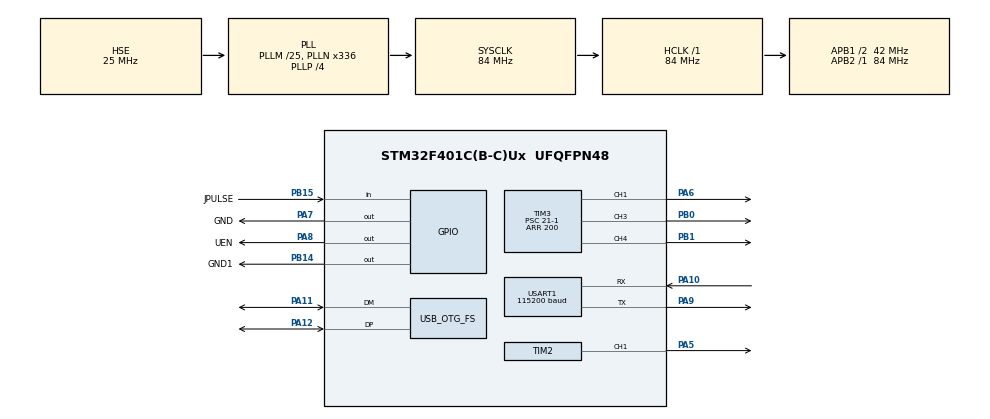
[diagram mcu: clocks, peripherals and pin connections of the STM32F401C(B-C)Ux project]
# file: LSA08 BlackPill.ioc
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Mcu.Family=STM32F4
Mcu.Name=STM32F401C(B-C)Ux
Mcu.Package=UFQFPN48
NVIC.OTG_FS_IRQn=true\:0\:0\:false\:false\:true\:false\:true\:true
NVIC.PriorityGroup=NVIC_PRIORITYGROUP_4
NVIC.USART1_IRQn=true\:0\:0\:false\:false\:true\:true\:true\:true
PA10.Mode=Asynchronous
PA10.Signal=USART1_RX
PA11.Mode=Device_Only
PA11.Signal=USB_OTG_FS_DM
PA12.Mode=Device_Only
PA12.Signal=USB_OTG_FS_DP
PA13.Mode=Trace_Asynchronous_SW
PA13.Signal=SYS_JTMS-SWDIO
PA14.Mode=Trace_Asynchronous_SW
PA14.Signal=SYS_JTCK-SWCLK
PA5.Signal=S_TIM2_CH1_ETR
PA6.Signal=S_TIM3_CH1
PA7.GPIO_Label=GND
PA7.GPIO_PuPd=GPIO_PULLDOWN
PA7.Signal=GPIO_Output
PA8.GPIO_Label=UEN
PA8.GPIO_PuPd=GPIO_PULLDOWN
PA8.Signal=GPIO_Output
PA9.Mode=Asynchronous
PA9.Signal=USART1_TX
PB0.Signal=S_TIM3_CH3
PB1.Signal=S_TIM3_CH4
PB14.GPIO_Label=GND1
PB14.GPIO_PuPd=GPIO_PULLDOWN
PB14.Signal=GPIO_Output
PB15.GPIO_Label=JPULSE
PB15.Signal=GPIO_Input
PB3.Mode=Trace_Asynchronous_SW
PB3.Signal=SYS_JTDO-SWO
PH0\ -\ OSC_IN.Mode=HSE-External-Oscillator
PH0\ -\ OSC_IN.Signal=RCC_OSC_IN
PH1\ -\ OSC_OUT.Mode=HSE-External-Oscillator
PH1\ -\ OSC_OUT.Signal=RCC_OSC_OUT
ProjectManager.HeapSize=0x200
ProjectManager.StackSize=0x400
ProjectManager.TargetToolchain=STM32CubeIDE
RCC.48MHZClocksFreq_Value=48000000
RCC.AHBFreq_Value=84000000
RCC.APB1CLKDivider=RCC_HCLK_DIV2
RCC.APB1Freq_Value=42000000
RCC.APB1TimFreq_Value=84000000
RCC.APB2Freq_Value=84000000
RCC.APB2TimFreq_Value=84000000
RCC.CortexFreq_Value=84000000
RCC.HCLKFreq_Value=84000000
RCC.HSE_VALUE=25000000
RCC.HSI_VALUE=16000000
RCC.LSE_VALUE=32768
RCC.PLLM=25
RCC.PLLN=336
RCC.PLLP=RCC_PLLP_DIV4
RCC.PLLQ=7
RCC.SYSCLKFreq_VALUE=84000000
RCC.SYSCLKSource=RCC_SYSCLKSOURCE_PLLCLK
RCC.VCOOutputFreq_Value=336000000
SH.S_TIM2_CH1_ETR.0=TIM2_CH1,PWM Generation1 CH1
SH.S_TIM3_CH1.0=TIM3_CH1,PWM Generation1 CH1
SH.S_TIM3_CH3.0=TIM3_CH3,PWM Generation3 CH3
SH.S_TIM3_CH4.0=TIM3_CH4,PWM Generation4 CH4
TIM2.AutoReloadPreload=TIM_AUTORELOAD_PRELOAD_ENABLE
TIM2.Channel-PWM\ Generation1\ CH1=TIM_CHANNEL_1
TIM2.Period=200
TIM2.Prescaler=21-1
TIM3.AutoReloadPreload=TIM_AUTORELOAD_PRELOAD_ENABLE
TIM3.Channel-PWM\ Generation1\ CH1=TIM_CHANNEL_1
TIM3.Channel-PWM\ Generation3\ CH3=TIM_CHANNEL_3
TIM3.Channel-PWM\ Generation4\ CH4=TIM_CHANNEL_4
TIM3.Period=200
TIM3.Prescaler=21-1
USART1.BaudRate=115200
USART1.VirtualMode=VM_ASYNC
USB_DEVICE.CLASS_NAME_FS=CDC
USB_DEVICE.VirtualMode=Cdc
USB_DEVICE.VirtualModeFS=Cdc_FS
USB_OTG_FS.VirtualMode=Device_Only
VP_TIM2_VS_ClockSourceINT.Mode=Internal
VP_TIM3_VS_ClockSourceINT.Mode=Internal
VP_USB_DEVICE_VS_USB_DEVICE_CDC_FS.Mode=CDC_FS
board=custom

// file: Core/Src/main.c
/* USER CODE BEGIN Header */
/**
 ******************************************************************************
 * @file           : main.c
 * @brief          : Main program body
 ******************************************************************************
 * @attention
 *
 * Copyright (c) 2024 STMicroelectronics.
 * All rights reserved.
 *
 * This software is licensed under terms that can be found in the LICENSE file
 * in the root directory of this software component.
 * If no LICENSE file comes with this software, it is provided AS-IS.
 *
 ******************************************************************************
								UART MODE 2
 */

/* USER CODE END Header */
#include "main.h"
#include "usb_device.h"

/* USER CODE BEGIN Includes */
#include "usbd_cdc_if.h"
#include "stdio.h"
#include "math.h"
#include "string.h"

#define address 1
#define kp 7.8
#define kd 0.5
#define ki 0.000004
#define MAX_LOOP_COUNT 4

double error, P, I, D;
int setpoint = 35;
double correction = 0, lastInput = 0;
uint32_t lastTime = 0;
double integralMin = -25.0, integralMax = 25.0;
//double base_speed_right = 150;
//double base_speed_left = 150;
double base_speed = 200;
int turn;
int junction;
int junction_flag = 0;
int loop_counter = 0;
int last_turn = 0;
/* USER CODE END Includes */

TIM_HandleTypeDef htim2;
TIM_HandleTypeDef htim3;

UART_HandleTypeDef huart1;

/* USER CODE BEGIN PV */
uint8_t rxBuffer[1];
char rxdata[20];
int flag = 0;

/* USER CODE END PV */

void SystemClock_Config(void);
static void MX_GPIO_Init(void);
static void MX_TIM2_Init(void);
static void MX_TIM3_Init(void);
static void MX_USART1_UART_Init(void);

/* USER CODE BEGIN 0 */

void send_to_lsa(uint8_t command, uint8_t data) {
	uint8_t packet[4];
	packet[0] = address;
	packet[1] = command;
	packet[2] = data;
	packet[3] = address + command + data;
	HAL_UART_Transmit(&huart1, packet, 4, 10);
	HAL_Delay(10);

}

int _write(int file, char *ptr, int len) {
	int DataIdx;
	for (DataIdx = 0; DataIdx < len; DataIdx++) {
		ITM_SendChar(*ptr++);
	}
	return len;
}
uint8_t line_data() {
	HAL_GPIO_WritePin(GPIOB, GPIO_PIN_0, 0);
	HAL_Delay(1);
	HAL_UART_Receive(&huart1, (uint8_t*) rxBuffer, sizeof(rxBuffer), 10);
	HAL_Delay(1);
	HAL_GPIO_WritePin(GPIOB, GPIO_PIN_0, 1);

	return rxBuffer[0];
}

int junction_data() {
	int j_data = HAL_GPIO_ReadPin(JPULSE_GPIO_Port, JPULSE_Pin);
	return j_data;
}

void setMotorSpeed(uint8_t motor, int32_t speed) {
	uint16_t pwm = abs(speed);
	if (pwm > 200)
		pwm = 200;

	if (motor == 0) { // Motor 1
		if (speed > 0) {
			TIM2->CCR1 = pwm;  // Set PWM duty cycle for channel 1
			TIM3->CCR1 = 0;          // Set PWM duty cycle for channel 2
		} else {
			TIM2->CCR1 = 0;          // Set PWM duty cycle for channel 1

			TIM3->CCR1 = pwm;  // Set PWM duty cycle for channel 2
		}
	} else if (motor == 1) { // Motor 2
		if (speed > 0) {
			TIM3->CCR3 = pwm;  // Set PWM duty cycle for channel 3
			TIM3->CCR4 = 0;          // Set PWM duty cycle for channel 4
		} else {
			TIM3->CCR3 = 0;          // Set PWM duty cycle for channel 3
			TIM3->CCR4 = pwm;  // Set PWM duty cycle for channel 4
		}
	}

}

void computePID(double error, int32_t input) {

	double timeChange = (double) (HAL_GetTick() - lastTime);

	P = kp * error;
	I += ki * error * timeChange;
	if (I > integralMax) I = integralMax;
	if (I < integralMin) I = integralMin;
	D = kd * (input - lastInput) / timeChange;

	correction = P + I + D;
	lastInput = input;
	lastTime = HAL_GetTick();
	correction = floor(correction);
//	base_speed_right = floor(base_speed_right);
//	base_speed_left = floor(base_speed_left);

	printf("input = %ld\n", input);
	printf("lastinput = %lf\n", lastInput);
	printf("error = %f\n", error);
	printf("P = %f\n", P);
	printf("I = %f\n", I);
	printf("D = %f\n", D);
//	base_speed_right -= correction;
//	base_speed_left += correction;
	printf("correction = %f\n", correction);
//	printf("motor0: %f, motor1:%f\n" ,base_speed_left,base_speed_right);
//	setMotorSpeed(0, base_speed_left);
//	setMotorSpeed(1, base_speed_right);
	printf("motor0: %f, motor1:%f\n", base_speed + correction,
			base_speed - correction);
	setMotorSpeed(0, base_speed + correction);
	setMotorSpeed(1, base_speed - correction);

}
uint8_t rxData;

//int isInLoop(int current_turn) {
//    if (current_turn == last_turn) {
//        loop_counter++;
//        if (loop_counter >= MAX_LOOP_COUNT) {
//            return 1;
//        }
//    } else {
//        loop_counter = 0;
//    }
//    last_turn = current_turn;
//    return 0;
//}

/* USER CODE END 0 */

int main(void) {

	/* MCU Configuration--------------------------------------------------------*/

	/* Reset of all peripherals, Initializes the Flash interface and the Systick. */
	HAL_Init();

	/* Configure the system clock */
	SystemClock_Config();

	/* Initialize all configured peripherals */
	MX_GPIO_Init();
	MX_TIM2_Init();
	MX_TIM3_Init();
	MX_USART1_UART_Init();
	MX_USB_DEVICE_Init();
	/* USER CODE BEGIN 2 */
//    send_to_lsa('C', 0);
	HAL_TIM_PWM_Start(&htim3, TIM_CHANNEL_1);
	HAL_TIM_PWM_Start(&htim3, TIM_CHANNEL_4);
	HAL_TIM_PWM_Start(&htim3, TIM_CHANNEL_3);
	HAL_TIM_PWM_Start(&htim2, TIM_CHANNEL_1);
//  HAL_Delay(6000);
	HAL_Delay(2000);
//  setMotorSpeed(0, base_speed);
//  setMotorSpeed(1, base_speed);

	/* USER CODE END 2 */

	/* Infinite loop */
	/* USER CODE BEGIN WHILE */
	while (1) {
		int input = line_data();
//		printf("Input: %d\n", input);
//		printf("Turn: %d\n", turn);
//		printf("junction: %d\n", junction);
		turn = input > 50 && input <= 70 ? 1 : input < 20 ? -1 : turn;
//		if (input > 52 && input <= 70) {
//		        turn = 1;
//		} else if (input < 20) {
//		        turn = -1;
//		}
//		if (isInLoop(turn)) {
//		    if (turn == 1) {
//		        turn = -1;
//		    } else if (turn == -1) {
//		        turn = 1;
//		    }
//		}

		if (turn) {
			while (input == 255) {
				if (turn == 1) {
					setMotorSpeed(0, 150);
					setMotorSpeed(1, -150);
				} else if(turn == -1) {
					setMotorSpeed(0, -150);
					setMotorSpeed(1, 150);
				}
				input = line_data();
			}
//			turn = 0;
//			continue;
			input = line_data();
		}
//		turn = 0;
		turn = input > 52 && input <= 70 ? 1 : input < 20 ? -1 : turn;
		if (input == 255) {
//			setMotorSpeed(0, 0);
//			setMotorSpeed(1, 0);
			continue;
		}
//		junction = junction_data();
//		if (junction == 1) {
//			turn = input > 45 ? 1 : input < 25 ? -1 : 0;
//			continue;
//		}`

//
//		if (junction) {
//			if (junction_flag == 0) {
//				if (input > 45) {
//					turn = 1;
//				} else if (input < 25) {
//					turn = -1;
//				} else {
//					turn = 0;
//				}
//
//				junction_flag = 1;
//			} else {
//				turn = 0;
//			}
//		} else {
//			junction_flag = 0;
//		}
//		if (input == 255) {
//			HAL_Delay(25);
//			setMotorSpeed(0, 0);
//			setMotorSpeed(1, 0);
//			while (line_data() == 255) {
//				if (turn == 1) {
//					setMotorSpeed(0, 50);
//					setMotorSpeed(1, -50);
//					printf("turn=1");
//				} else if (turn == -1) {
//					setMotorSpeed(0, -50);
//					setMotorSpeed(1, 50);
//					printf("turn=-1");
//				} else if (!turn) {
//					setMotorSpeed(0, 50);
//					setMotorSpeed(1, 50);
//					printf("turn=0");
//				}
//				HAL_Delay(200);
//			}
//			input = line_data();
//		}
//	else{
		double error = input - setpoint;
//		if(turn){
//			error = error * 1.25;
//		}
		computePID(error, input);
//		}
//	}

		/* USER CODE END WHILE */

		/* USER CODE BEGIN 3 */
//	if(flag == 1){
//
//		HAL_UART_Receive(&huart2, (uint8_t *)rxdata, sizeof(rxdata), 1);
//		for (int i = 0; i < strlen(rxdata); i++) {
//			printf("%c,", rxdata[i]); //	function to convert string to float to be called here
//		}
//		printf("\n");
//		flag = 0;
//		__HAL_UART_ENABLE_IT(&huart2 , UART_IT_RXNE);
//
//	}
		printf("line: %d\n", line_data());

	}
	/* USER CODE END 3 */
}

void SystemClock_Config(void) {
	RCC_OscInitTypeDef RCC_OscInitStruct = { 0 };
	RCC_ClkInitTypeDef RCC_ClkInitStruct = { 0 };

	/** Configure the main internal regulator output voltage
	 */
	__HAL_RCC_PWR_CLK_ENABLE();
	__HAL_PWR_VOLTAGESCALING_CONFIG(PWR_REGULATOR_VOLTAGE_SCALE2);

	/** Initializes the RCC Oscillators according to the specified parameters
	 * in the RCC_OscInitTypeDef structure.
	 */
	RCC_OscInitStruct.OscillatorType = RCC_OSCILLATORTYPE_HSE;
	RCC_OscInitStruct.HSEState = RCC_HSE_ON;
	RCC_OscInitStruct.PLL.PLLState = RCC_PLL_ON;
	RCC_OscInitStruct.PLL.PLLSource = RCC_PLLSOURCE_HSE;
	RCC_OscInitStruct.PLL.PLLM = 25;
	RCC_OscInitStruct.PLL.PLLN = 336;
	RCC_OscInitStruct.PLL.PLLP = RCC_PLLP_DIV4;
	RCC_OscInitStruct.PLL.PLLQ = 7;
	if (HAL_RCC_OscConfig(&RCC_OscInitStruct) != HAL_OK) {
		Error_Handler();
	}

	/** Initializes the CPU, AHB and APB buses clocks
	 */
	RCC_ClkInitStruct.ClockType = RCC_CLOCKTYPE_HCLK | RCC_CLOCKTYPE_SYSCLK
			| RCC_CLOCKTYPE_PCLK1 | RCC_CLOCKTYPE_PCLK2;
	RCC_ClkInitStruct.SYSCLKSource = RCC_SYSCLKSOURCE_PLLCLK;
	RCC_ClkInitStruct.AHBCLKDivider = RCC_SYSCLK_DIV1;
	RCC_ClkInitStruct.APB1CLKDivider = RCC_HCLK_DIV2;
	RCC_ClkInitStruct.APB2CLKDivider = RCC_HCLK_DIV1;

	if (HAL_RCC_ClockConfig(&RCC_ClkInitStruct, FLASH_LATENCY_2) != HAL_OK) {
		Error_Handler();
	}
}

static void MX_TIM2_Init(void) {

	TIM_ClockConfigTypeDef sClockSourceConfig = { 0 };
	TIM_MasterConfigTypeDef sMasterConfig = { 0 };
	TIM_OC_InitTypeDef sConfigOC = { 0 };

	htim2.Instance = TIM2;
	htim2.Init.Prescaler = 21 - 1;
	htim2.Init.CounterMode = TIM_COUNTERMODE_UP;
	htim2.Init.Period = 200;
	htim2.Init.ClockDivision = TIM_CLOCKDIVISION_DIV1;
	htim2.Init.AutoReloadPreload = TIM_AUTORELOAD_PRELOAD_ENABLE;
	if (HAL_TIM_Base_Init(&htim2) != HAL_OK) {
		Error_Handler();
	}
	sClockSourceConfig.ClockSource = TIM_CLOCKSOURCE_INTERNAL;
	if (HAL_TIM_ConfigClockSource(&htim2, &sClockSourceConfig) != HAL_OK) {
		Error_Handler();
	}
	if (HAL_TIM_PWM_Init(&htim2) != HAL_OK) {
		Error_Handler();
	}
	sMasterConfig.MasterOutputTrigger = TIM_TRGO_RESET;
	sMasterConfig.MasterSlaveMode = TIM_MASTERSLAVEMODE_DISABLE;
	if (HAL_TIMEx_MasterConfigSynchronization(&htim2, &sMasterConfig)
			!= HAL_OK) {
		Error_Handler();
	}
	sConfigOC.OCMode = TIM_OCMODE_PWM1;
	sConfigOC.Pulse = 0;
	sConfigOC.OCPolarity = TIM_OCPOLARITY_HIGH;
	sConfigOC.OCFastMode = TIM_OCFAST_DISABLE;
	if (HAL_TIM_PWM_ConfigChannel(&htim2, &sConfigOC, TIM_CHANNEL_1)
			!= HAL_OK) {
		Error_Handler();
	}
	HAL_TIM_MspPostInit(&htim2);

}

static void MX_TIM3_Init(void) {

	TIM_ClockConfigTypeDef sClockSourceConfig = { 0 };
	TIM_MasterConfigTypeDef sMasterConfig = { 0 };
	TIM_OC_InitTypeDef sConfigOC = { 0 };

	htim3.Instance = TIM3;
	htim3.Init.Prescaler = 21 - 1;
	htim3.Init.CounterMode = TIM_COUNTERMODE_UP;
	htim3.Init.Period = 200;
	htim3.Init.ClockDivision = TIM_CLOCKDIVISION_DIV1;
	htim3.Init.AutoReloadPreload = TIM_AUTORELOAD_PRELOAD_ENABLE;
	if (HAL_TIM_Base_Init(&htim3) != HAL_OK) {
		Error_Handler();
	}
	sClockSourceConfig.ClockSource = TIM_CLOCKSOURCE_INTERNAL;
	if (HAL_TIM_ConfigClockSource(&htim3, &sClockSourceConfig) != HAL_OK) {
		Error_Handler();
	}
	if (HAL_TIM_PWM_Init(&htim3) != HAL_OK) {
		Error_Handler();
	}
	sMasterConfig.MasterOutputTrigger = TIM_TRGO_RESET;
	sMasterConfig.MasterSlaveMode = TIM_MASTERSLAVEMODE_DISABLE;
	if (HAL_TIMEx_MasterConfigSynchronization(&htim3, &sMasterConfig)
			!= HAL_OK) {
		Error_Handler();
	}
	sConfigOC.OCMode = TIM_OCMODE_PWM1;
	sConfigOC.Pulse = 0;
	sConfigOC.OCPolarity = TIM_OCPOLARITY_HIGH;
	sConfigOC.OCFastMode = TIM_OCFAST_DISABLE;
	if (HAL_TIM_PWM_ConfigChannel(&htim3, &sConfigOC, TIM_CHANNEL_1)
			!= HAL_OK) {
		Error_Handler();
	}
	if (HAL_TIM_PWM_ConfigChannel(&htim3, &sConfigOC, TIM_CHANNEL_3)
			!= HAL_OK) {
		Error_Handler();
	}
	if (HAL_TIM_PWM_ConfigChannel(&htim3, &sConfigOC, TIM_CHANNEL_4)
			!= HAL_OK) {
		Error_Handler();
	}
	HAL_TIM_MspPostInit(&htim3);

}

static void MX_USART1_UART_Init(void) {

	huart1.Instance = USART1;
	huart1.Init.BaudRate = 115200;
	huart1.Init.WordLength = UART_WORDLENGTH_8B;
	huart1.Init.StopBits = UART_STOPBITS_1;
	huart1.Init.Parity = UART_PARITY_NONE;
	huart1.Init.Mode = UART_MODE_TX_RX;
	huart1.Init.HwFlowCtl = UART_HWCONTROL_NONE;
	huart1.Init.OverSampling = UART_OVERSAMPLING_16;
	if (HAL_UART_Init(&huart1) != HAL_OK) {
		Error_Handler();
	}

}

static void MX_GPIO_Init(void) {
	GPIO_InitTypeDef GPIO_InitStruct = { 0 };

	/* GPIO Ports Clock Enable */
	__HAL_RCC_GPIOH_CLK_ENABLE();
	__HAL_RCC_GPIOA_CLK_ENABLE();
	__HAL_RCC_GPIOB_CLK_ENABLE();

	/*Configure GPIO pin Output Level */
	HAL_GPIO_WritePin(GPIOA, GND_Pin | UEN_Pin, GPIO_PIN_RESET);

	/*Configure GPIO pin Output Level */
	HAL_GPIO_WritePin(GND1_GPIO_Port, GND1_Pin, GPIO_PIN_RESET);

	/*Configure GPIO pins : GND_Pin UEN_Pin */
	GPIO_InitStruct.Pin = GND_Pin | UEN_Pin;
	GPIO_InitStruct.Mode = GPIO_MODE_OUTPUT_PP;
	GPIO_InitStruct.Pull = GPIO_PULLDOWN;
	GPIO_InitStruct.Speed = GPIO_SPEED_FREQ_LOW;
	HAL_GPIO_Init(GPIOA, &GPIO_InitStruct);

	/*Configure GPIO pin : GND1_Pin */
	GPIO_InitStruct.Pin = GND1_Pin;
	GPIO_InitStruct.Mode = GPIO_MODE_OUTPUT_PP;
	GPIO_InitStruct.Pull = GPIO_PULLDOWN;
	GPIO_InitStruct.Speed = GPIO_SPEED_FREQ_LOW;
	HAL_GPIO_Init(GND1_GPIO_Port, &GPIO_InitStruct);

	/*Configure GPIO pin : JPULSE_Pin */
	GPIO_InitStruct.Pin = JPULSE_Pin;
	GPIO_InitStruct.Mode = GPIO_MODE_INPUT;
	GPIO_InitStruct.Pull = GPIO_NOPULL;
	HAL_GPIO_Init(JPULSE_GPIO_Port, &GPIO_InitStruct);

}

void Error_Handler(void) {
	__disable_irq();
	while (1) {
	}
}
